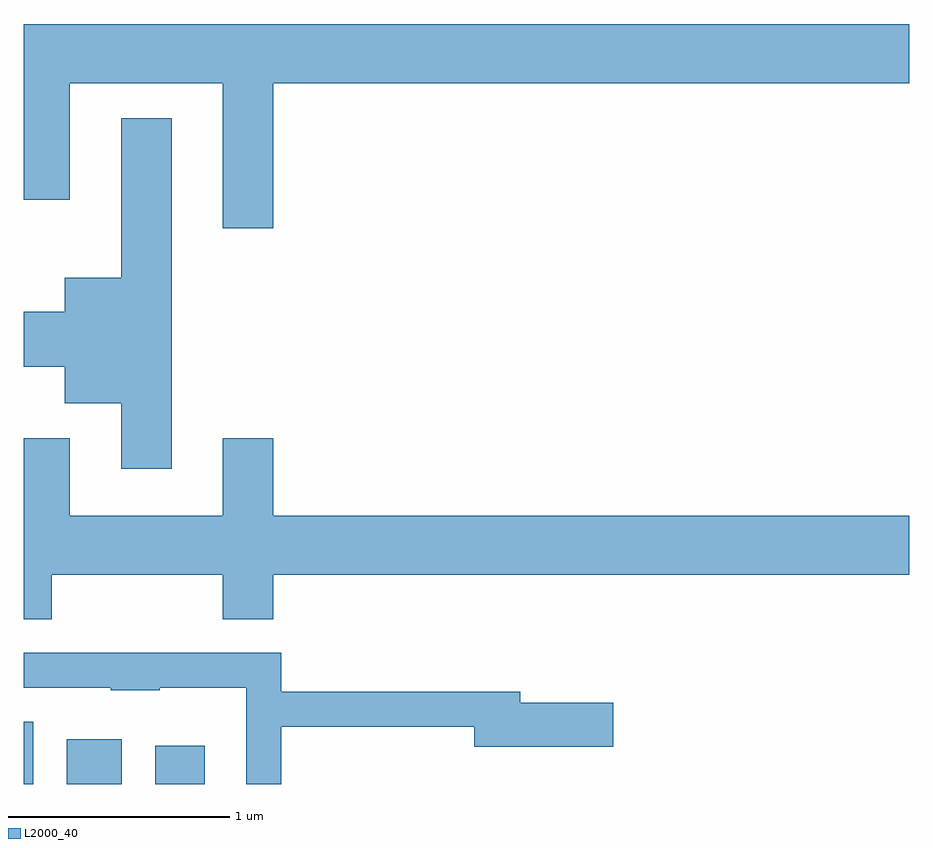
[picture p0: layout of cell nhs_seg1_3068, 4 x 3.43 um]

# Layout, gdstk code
import gdstk
lib = gdstk.Library(unit=1e-6, precision=1e-09)
def R(c, l, rs):  # rectangles x0, y0, x1, y1
    for r in rs: c.add(gdstk.rectangle(r[:2], r[2:], *l))
def P(c, l, *ps):  # polygons
    for p in ps: c.add(gdstk.Polygon(p, *l))
L2000_40 = (2000, 40)

nhs_seg1_3068 = lib.new_cell('nhs_seg1_3068')
R(nhs_seg1_3068, L2000_40, [(277.611,929.712,277.654,929.994), (277.806,929.712,278.054,929.914), (278.206,929.712,278.429,929.884)])
P(nhs_seg1_3068, L2000_40, [(278.739,932.876),(281.611,932.876),(281.611,933.144),(277.611,933.144),(277.611,932.351),(277.819,932.351),(277.819,932.876),(278.511,932.876),(278.511,932.221),(278.739,932.221)],
  [(278.279,932.719),(278.051,932.719),(278.051,931.999),(277.796,931.999),(277.796,931.844),(277.611,931.844),(277.611,931.596),(277.796,931.596),(277.796,931.431),(278.051,931.431),(278.051,931.136),(278.279,931.136)],
  [(277.739,930.656),(278.511,930.656),(278.511,930.456),(278.739,930.456),(278.739,930.656),(281.611,930.656),(281.611,930.924),(278.739,930.924),(278.739,931.274),(278.511,931.274),(278.511,930.924),(277.819,930.924),(277.819,931.274),(277.611,931.274),(277.611,930.456),(277.739,930.456)],
  [(278.774,929.971),(279.646,929.971),(279.646,929.881),(280.274,929.881),(280.274,930.079),(279.854,930.079),(279.854,930.129),(278.774,930.129),(278.774,930.304),(277.611,930.304),(277.611,930.146),(278.005,930.146),(278.005,930.136),(278.225,930.136),(278.225,930.146),(278.616,930.146),(278.616,929.712),(278.774,929.712)])

lib.write_gds('nhs_seg1_3068.gds')
